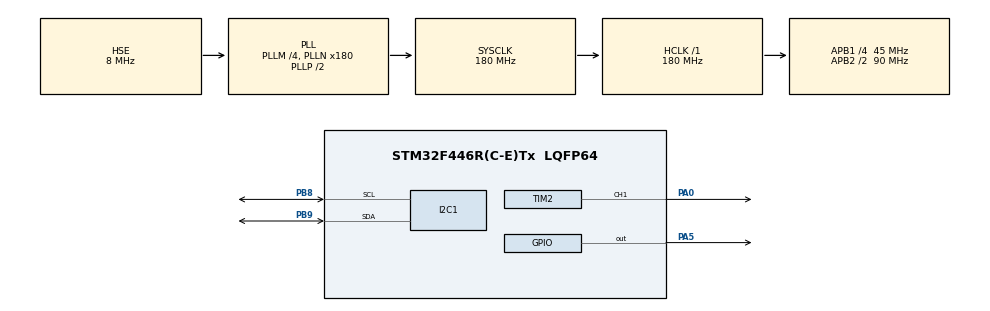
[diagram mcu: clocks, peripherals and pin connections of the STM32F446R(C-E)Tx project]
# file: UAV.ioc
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Mcu.Family=STM32F4
Mcu.Name=STM32F446R(C-E)Tx
Mcu.Package=LQFP64
NVIC.PriorityGroup=NVIC_PRIORITYGROUP_4
PA0-WKUP.Signal=S_TIM2_CH1_ETR
PA5.Signal=GPIO_Output
PB8.Mode=I2C
PB8.Signal=I2C1_SCL
PB9.Mode=I2C
PB9.Signal=I2C1_SDA
PH0-OSC_IN.Mode=HSE-External-Oscillator
PH0-OSC_IN.Signal=RCC_OSC_IN
PH1-OSC_OUT.Mode=HSE-External-Oscillator
PH1-OSC_OUT.Signal=RCC_OSC_OUT
ProjectManager.HeapSize=0x200
ProjectManager.StackSize=0x400
ProjectManager.TargetToolchain=STM32CubeIDE
RCC.AHBFreq_Value=180000000
RCC.APB1CLKDivider=RCC_HCLK_DIV4
RCC.APB1Freq_Value=45000000
RCC.APB1TimFreq_Value=90000000
RCC.APB2CLKDivider=RCC_HCLK_DIV2
RCC.APB2Freq_Value=90000000
RCC.APB2TimFreq_Value=180000000
RCC.CortexFreq_Value=180000000
RCC.HCLKFreq_Value=180000000
RCC.HSE_VALUE=8000000
RCC.PLLM=4
RCC.PLLN=180
RCC.PLLSourceVirtual=RCC_PLLSOURCE_HSE
RCC.SYSCLKFreq_VALUE=180000000
RCC.SYSCLKSource=RCC_SYSCLKSOURCE_PLLCLK
RCC.USBFreq_Value=180000000
RCC.VCOOutputFreq_Value=360000000
SH.S_TIM2_CH1_ETR.0=TIM2_CH1,PWM Generation1 CH1
TIM2.Channel-PWM\ Generation1\ CH1=TIM_CHANNEL_1
TIM2.Period=19999
TIM2.Prescaler=89
VP_TIM2_VS_ClockSourceINT.Mode=Internal
board=custom

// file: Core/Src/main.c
/* USER CODE BEGIN Header */
/**
  ********************************----------------------------------------------
  * @file           : main.c
  * @brief          : Main program body
  ********************************----------------------------------------------
  * @attention
  *
  * Copyright (c) 2026 STMicroelectronics.
  * All rights reserved.
  *
  * This software is licensed under terms that can be found in the LICENSE file
  * in the root directory of this software component.
  * If no LICENSE file comes with this software, it is provided AS-IS.
  *
  ********************************----------------------------------------------
  */
/* USER CODE END Header */
#include <kalman_filter.h>
#include "main.h"

/* USER CODE BEGIN Includes */
#include <stdio.h>
#include <math.h>
#include <string.h>
#include "imu.h"
#include "complementary_filter.h"
/* USER CODE END Includes */

/* USER CODE BEGIN PD */
#define ESC_MIN_PULSE  1000
#define ESC_MAX_PULSE  2000
#define ESC_STOP_PULSE 1000
/* USER CODE END PD */

I2C_HandleTypeDef hi2c1;
TIM_HandleTypeDef htim2;

/* USER CODE BEGIN PV */
IMU_Data_t imu;
IMU_Diagnostics_t imu_diag;
//Attitude_t attitude; // For complementry filter
Kalman_State_t kalman_state;

uint32_t last_tick;
uint32_t esc_test_tick;
int test_state = 0;
/* USER CODE END PV */

void SystemClock_Config(void);
static void MX_GPIO_Init(void);
static void MX_I2C1_Init(void);
static void MX_TIM2_Init(void);

int main(void)
{

  /* MCU Configuration--------------------------------------------------------*/

  /* Reset of all peripherals, Initializes the Flash interface and the Systick. */
  HAL_Init();

  /* Configure the system clock */
  SystemClock_Config();

  /* Initialize all configured peripherals */
  MX_GPIO_Init();
  MX_I2C1_Init();
  MX_TIM2_Init();

  /* USER CODE BEGIN 2 */
  IMU_Init(&hi2c1);
  IMU_CalibrateGyro();
//  ComplementaryFilter_Init();
  Kalman_Init();

  HAL_TIM_PWM_Start(&htim2, TIM_CHANNEL_1);

  // Arming ESC first 3 seconds
  __HAL_TIM_SET_COMPARE(&htim2, TIM_CHANNEL_1, ESC_STOP_PULSE);
  HAL_Delay(3000);

  last_tick = HAL_GetTick();
  esc_test_tick = HAL_GetTick();
  /* USER CODE END 2 */

  /* Infinite loop */
  /* USER CODE BEGIN WHILE */
  while (1)
  {
	  uint32_t now = HAL_GetTick();

	  if ((now - last_tick) >= 4)
	  {
		  float dt = (now - last_tick) / 1000.0f;
		  last_tick = now;
		  if (IMU_Read(&imu))
		  {
//			  ComplementaryFilter_Update(&imu, &attitude, dt);
			  Kalman_Update(&imu, &kalman_state, dt);
		  }
		  IMU_GetDiagnostics(&imu_diag);
	  }

//	  if ((now - esc_test_tick) >= 5000)
//	  {
//		  esc_test_tick = now;
//		  if (test_state == 0)
//		  {
//			  __HAL_TIM_SET_COMPARE(&htim2, TIM_CHANNEL_1, 1200);
//			  test_state = 1;
//		  }
//		  else
//		  {
//			  __HAL_TIM_SET_COMPARE(&htim2, TIM_CHANNEL_1, ESC_STOP_PULSE);
//			  test_state = 0;
//		  }
//	  }
    /* USER CODE END WHILE */

  }
}

void SystemClock_Config(void)
{
  RCC_OscInitTypeDef RCC_OscInitStruct = {0};
  RCC_ClkInitTypeDef RCC_ClkInitStruct = {0};

  /** Configure the main internal regulator output voltage
  */
  __HAL_RCC_PWR_CLK_ENABLE();
  __HAL_PWR_VOLTAGESCALING_CONFIG(PWR_REGULATOR_VOLTAGE_SCALE1);

  /** Initializes the RCC Oscillators according to the specified parameters
  * in the RCC_OscInitTypeDef structure.
  */
  RCC_OscInitStruct.OscillatorType = RCC_OSCILLATORTYPE_HSE;
  RCC_OscInitStruct.HSEState = RCC_HSE_ON;
  RCC_OscInitStruct.PLL.PLLState = RCC_PLL_ON;
  RCC_OscInitStruct.PLL.PLLSource = RCC_PLLSOURCE_HSE;
  RCC_OscInitStruct.PLL.PLLM = 4;
  RCC_OscInitStruct.PLL.PLLN = 180;
  RCC_OscInitStruct.PLL.PLLP = RCC_PLLP_DIV2;
  RCC_OscInitStruct.PLL.PLLQ = 2;
  RCC_OscInitStruct.PLL.PLLR = 2;
  if (HAL_RCC_OscConfig(&RCC_OscInitStruct) != HAL_OK)
  {
    Error_Handler();
  }

  /** Activate the Over-Drive mode
  */
  if (HAL_PWREx_EnableOverDrive() != HAL_OK)
  {
    Error_Handler();
  }

  /** Initializes the CPU, AHB and APB buses clocks
  */
  RCC_ClkInitStruct.ClockType = RCC_CLOCKTYPE_HCLK|RCC_CLOCKTYPE_SYSCLK
                              |RCC_CLOCKTYPE_PCLK1|RCC_CLOCKTYPE_PCLK2;
  RCC_ClkInitStruct.SYSCLKSource = RCC_SYSCLKSOURCE_PLLCLK;
  RCC_ClkInitStruct.AHBCLKDivider = RCC_SYSCLK_DIV1;
  RCC_ClkInitStruct.APB1CLKDivider = RCC_HCLK_DIV4;
  RCC_ClkInitStruct.APB2CLKDivider = RCC_HCLK_DIV2;

  if (HAL_RCC_ClockConfig(&RCC_ClkInitStruct, FLASH_LATENCY_5) != HAL_OK)
  {
    Error_Handler();
  }
}

static void MX_I2C1_Init(void)
{

  hi2c1.Instance = I2C1;
  hi2c1.Init.ClockSpeed = 100000;
  hi2c1.Init.DutyCycle = I2C_DUTYCYCLE_2;
  hi2c1.Init.OwnAddress1 = 0;
  hi2c1.Init.AddressingMode = I2C_ADDRESSINGMODE_7BIT;
  hi2c1.Init.DualAddressMode = I2C_DUALADDRESS_DISABLE;
  hi2c1.Init.OwnAddress2 = 0;
  hi2c1.Init.GeneralCallMode = I2C_GENERALCALL_DISABLE;
  hi2c1.Init.NoStretchMode = I2C_NOSTRETCH_DISABLE;
  if (HAL_I2C_Init(&hi2c1) != HAL_OK)
  {
    Error_Handler();
  }

}

static void MX_TIM2_Init(void)
{

  TIM_ClockConfigTypeDef sClockSourceConfig = {0};
  TIM_MasterConfigTypeDef sMasterConfig = {0};
  TIM_OC_InitTypeDef sConfigOC = {0};

  htim2.Instance = TIM2;
  htim2.Init.Prescaler = 89;
  htim2.Init.CounterMode = TIM_COUNTERMODE_UP;
  htim2.Init.Period = 19999;
  htim2.Init.ClockDivision = TIM_CLOCKDIVISION_DIV1;
  htim2.Init.AutoReloadPreload = TIM_AUTORELOAD_PRELOAD_DISABLE;
  if (HAL_TIM_Base_Init(&htim2) != HAL_OK)
  {
    Error_Handler();
  }
  sClockSourceConfig.ClockSource = TIM_CLOCKSOURCE_INTERNAL;
  if (HAL_TIM_ConfigClockSource(&htim2, &sClockSourceConfig) != HAL_OK)
  {
    Error_Handler();
  }
  if (HAL_TIM_PWM_Init(&htim2) != HAL_OK)
  {
    Error_Handler();
  }
  sMasterConfig.MasterOutputTrigger = TIM_TRGO_RESET;
  sMasterConfig.MasterSlaveMode = TIM_MASTERSLAVEMODE_DISABLE;
  if (HAL_TIMEx_MasterConfigSynchronization(&htim2, &sMasterConfig) != HAL_OK)
  {
    Error_Handler();
  }
  sConfigOC.OCMode = TIM_OCMODE_PWM1;
  sConfigOC.Pulse = 0;
  sConfigOC.OCPolarity = TIM_OCPOLARITY_HIGH;
  sConfigOC.OCFastMode = TIM_OCFAST_DISABLE;
  if (HAL_TIM_PWM_ConfigChannel(&htim2, &sConfigOC, TIM_CHANNEL_1) != HAL_OK)
  {
    Error_Handler();
  }
  HAL_TIM_MspPostInit(&htim2);

}

static void MX_GPIO_Init(void)
{
  GPIO_InitTypeDef GPIO_InitStruct = {0};

  /* GPIO Ports Clock Enable */
  __HAL_RCC_GPIOH_CLK_ENABLE();
  __HAL_RCC_GPIOA_CLK_ENABLE();
  __HAL_RCC_GPIOB_CLK_ENABLE();

  /*Configure GPIO pin Output Level */
  HAL_GPIO_WritePin(GPIOA, GPIO_PIN_5, GPIO_PIN_RESET);

  /*Configure GPIO pin : PA5 */
  GPIO_InitStruct.Pin = GPIO_PIN_5;
  GPIO_InitStruct.Mode = GPIO_MODE_OUTPUT_PP;
  GPIO_InitStruct.Pull = GPIO_NOPULL;
  GPIO_InitStruct.Speed = GPIO_SPEED_FREQ_LOW;
  HAL_GPIO_Init(GPIOA, &GPIO_InitStruct);

}

void Error_Handler(void)
{
  __disable_irq();
  while (1)
  {
  }
}
